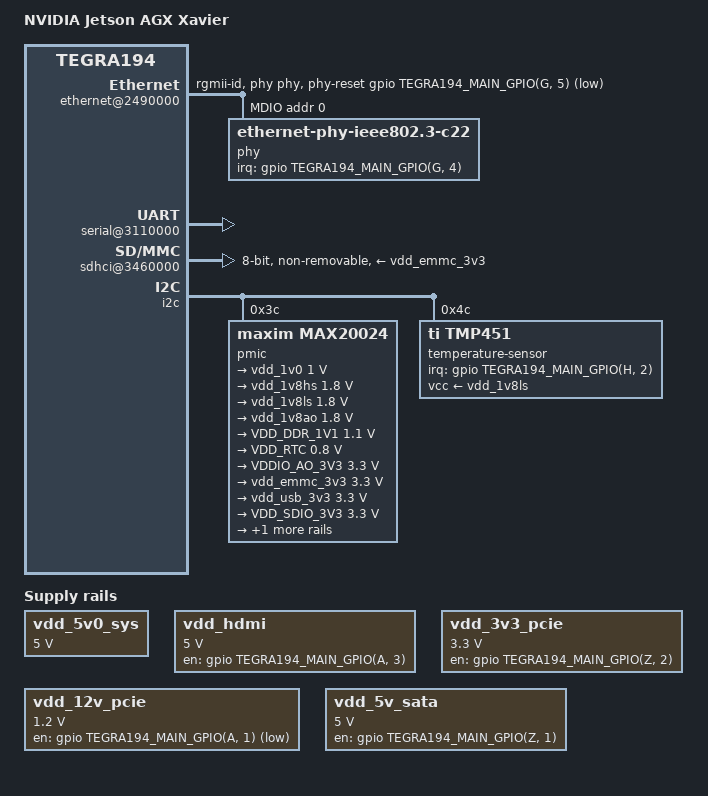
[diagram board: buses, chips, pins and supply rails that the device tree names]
// SPDX-License-Identifier: GPL-2.0
#include "tegra194.dtsi"

#include <dt-bindings/mfd/max77620.h>

/ {
	model = "NVIDIA Jetson AGX Xavier";
	compatible = "nvidia,p2888", "nvidia,tegra194";

	aliases {
		ethernet0 = "/cbb@0/ethernet@2490000";
		sdhci0 = "/cbb@0/sdhci@3460000";
		sdhci1 = "/cbb@0/sdhci@3400000";
		serial0 = &tcu;
		i2c0 = "/bpmp/i2c";
		i2c1 = "/cbb@0/i2c@3160000";
		i2c2 = "/cbb@0/i2c@c240000";
		i2c3 = "/cbb@0/i2c@3180000";
		i2c4 = "/cbb@0/i2c@3190000";
		i2c5 = "/cbb@0/i2c@31c0000";
		i2c6 = "/cbb@0/i2c@c250000";
		i2c7 = "/cbb@0/i2c@31e0000";
	};

	chosen {
		bootargs = "console=ttyS0,115200n8";
		stdout-path = "serial0:115200n8";
	};

	cbb@0 {
		ethernet@2490000 {
			status = "okay";

			phy-reset-gpios = <&gpio TEGRA194_MAIN_GPIO(G, 5) GPIO_ACTIVE_LOW>;
			phy-handle = <&phy>;
			phy-mode = "rgmii-id";

			mdio {
				#address-cells = <1>;
				#size-cells = <0>;

				phy: phy@0 {
					compatible = "ethernet-phy-ieee802.3-c22";
					reg = <0x0>;
					interrupt-parent = <&gpio>;
					interrupts = <TEGRA194_MAIN_GPIO(G, 4) IRQ_TYPE_LEVEL_LOW>;
				};
			};
		};

		memory-controller@2c00000 {
			status = "okay";
		};

		serial@3110000 {
			status = "okay";
		};

		/* SDMMC1 (SD/MMC) */
		sdhci@3400000 {
			cd-gpios = <&gpio TEGRA194_MAIN_GPIO(A, 0) GPIO_ACTIVE_LOW>;
		};

		/* SDMMC4 (eMMC) */
		sdhci@3460000 {
			status = "okay";
			bus-width = <8>;
			non-removable;

			vqmmc-supply = <&vdd_1v8ls>;
			vmmc-supply = <&vdd_emmc_3v3>;
		};

		padctl@3520000 {
			avdd-usb-supply = <&vdd_usb_3v3>;
			vclamp-usb-supply = <&vdd_1v8ao>;

			ports {
				usb2-1 {
					vbus-supply = <&vdd_5v0_sys>;
				};

				usb2-3 {
					vbus-supply = <&vdd_5v_sata>;
				};

				usb3-0 {
					vbus-supply = <&vdd_5v0_sys>;
				};

				usb3-3 {
					vbus-supply = <&vdd_5v0_sys>;
				};
			};
		};

		rtc@c2a0000 {
			status = "okay";
		};

		pmc@c360000 {
			nvidia,invert-interrupt;
		};
	};

	bpmp {
		i2c {
			status = "okay";

			pmic: pmic@3c {
				compatible = "maxim,max20024";
				reg = <0x3c>;

				interrupts = <GIC_SPI 209 IRQ_TYPE_LEVEL_HIGH>;
				#interrupt-cells = <2>;
				interrupt-controller;

				#gpio-cells = <2>;
				gpio-controller;

				pinctrl-names = "default";
				pinctrl-0 = <&max20024_default>;

				max20024_default: pinmux {
					gpio0 {
						pins = "gpio0";
						function = "gpio";
					};

					gpio1 {
						pins = "gpio1";
						function = "fps-out";
						maxim,active-fps-source = <MAX77620_FPS_SRC_DEF>;
					};

					gpio2 {
						pins = "gpio2";
						function = "fps-out";
						maxim,active-fps-source = <MAX77620_FPS_SRC_DEF>;
					};

					gpio3 {
						pins = "gpio3";
						function = "fps-out";
						maxim,active-fps-source = <MAX77620_FPS_SRC_DEF>;
					};

					gpio4 {
						pins = "gpio4";
						function = "32k-out1";
						drive-push-pull = <1>;
					};

					gpio6 {
						pins = "gpio6";
						function = "gpio";
						drive-push-pull = <1>;
					};

					gpio7 {
						pins = "gpio7";
						function = "gpio";
						drive-push-pull = <0>;
					};
				};

				fps {
					fps0 {
						maxim,fps-event-source = <MAX77620_FPS_EVENT_SRC_EN0>;
						maxim,shutdown-fps-time-period-us = <640>;
					};

					fps1 {
						maxim,fps-event-source = <MAX77620_FPS_EVENT_SRC_EN1>;
						maxim,shutdown-fps-time-period-us = <640>;
						maxim,device-state-on-disabled-event = <MAX77620_FPS_INACTIVE_STATE_SLEEP>;
					};

					fps2 {
						maxim,fps-event-source = <MAX77620_FPS_EVENT_SRC_EN0>;
						maxim,shutdown-fps-time-period-us = <640>;
					};
				};

				regulators {
					in-sd0-supply = <&vdd_5v0_sys>;
					in-sd1-supply = <&vdd_5v0_sys>;
					in-sd2-supply = <&vdd_5v0_sys>;
					in-sd3-supply = <&vdd_5v0_sys>;
					in-sd4-supply = <&vdd_5v0_sys>;

					in-ldo0-1-supply = <&vdd_5v0_sys>;
					in-ldo2-supply = <&vdd_5v0_sys>;
					in-ldo3-5-supply = <&vdd_5v0_sys>;
					in-ldo4-6-supply = <&vdd_5v0_sys>;
					in-ldo7-8-supply = <&vdd_1v8ls>;

					vdd_1v0: sd0 {
						regulator-name = "VDDIO_SYS_1V0";
						regulator-min-microvolt = <1000000>;
						regulator-max-microvolt = <1000000>;
						regulator-always-on;
						regulator-boot-on;
					};

					vdd_1v8hs: sd1 {
						regulator-name = "VDDIO_SYS_1V8HS";
						regulator-min-microvolt = <1800000>;
						regulator-max-microvolt = <1800000>;
						regulator-always-on;
						regulator-boot-on;
					};

					vdd_1v8ls: sd2 {
						regulator-name = "VDDIO_SYS_1V8LS";
						regulator-min-microvolt = <1800000>;
						regulator-max-microvolt = <1800000>;
						regulator-always-on;
						regulator-boot-on;
					};

					vdd_1v8ao: sd3 {
						regulator-name = "VDDIO_AO_1V8";
						regulator-min-microvolt = <1800000>;
						regulator-max-microvolt = <1800000>;
						regulator-always-on;
						regulator-boot-on;
					};

					sd4 {
						regulator-name = "VDD_DDR_1V1";
						regulator-min-microvolt = <1100000>;
						regulator-max-microvolt = <1100000>;
						regulator-always-on;
						regulator-boot-on;
					};

					ldo0 {
						regulator-name = "VDD_RTC";
						regulator-min-microvolt = <800000>;
						regulator-max-microvolt = <800000>;
						regulator-always-on;
						regulator-boot-on;
					};

					ldo2 {
						regulator-name = "VDDIO_AO_3V3";
						regulator-min-microvolt = <3300000>;
						regulator-max-microvolt = <3300000>;
						regulator-always-on;
						regulator-boot-on;
					};

					vdd_emmc_3v3: ldo3 {
						regulator-name = "VDD_EMMC_3V3";
						regulator-min-microvolt = <3300000>;
						regulator-max-microvolt = <3300000>;
					};

					vdd_usb_3v3: ldo5 {
						regulator-name = "VDD_USB_3V3";
						regulator-min-microvolt = <3300000>;
						regulator-max-microvolt = <3300000>;
					};

					ldo6 {
						regulator-name = "VDD_SDIO_3V3";
						regulator-min-microvolt = <3300000>;
						regulator-max-microvolt = <3300000>;
					};

					ldo7 {
						regulator-name = "AVDD_CSI_1V2";
						regulator-min-microvolt = <1200000>;
						regulator-max-microvolt = <1200000>;
					};
				};
			};

			temperature-sensor@4c {
				compatible = "ti,tmp451";
				reg = <0x4c>;

				interrupt-parent = <&gpio>;
				interrupts = <TEGRA194_MAIN_GPIO(H, 2)
					      IRQ_TYPE_LEVEL_LOW>;
				vcc-supply = <&vdd_1v8ls>;

				#thermal-sensor-cells = <1>;
			};
		};
	};

	regulators {
		compatible = "simple-bus";
		#address-cells = <1>;
		#size-cells = <0>;

		vdd_5v0_sys: regulator@0 {
			compatible = "regulator-fixed";
			reg = <0>;

			regulator-name = "VIN_SYS_5V0";
			regulator-min-microvolt = <5000000>;
			regulator-max-microvolt = <5000000>;
			regulator-always-on;
			regulator-boot-on;
		};

		vdd_hdmi: regulator@1 {
			compatible = "regulator-fixed";
			reg = <1>;

			regulator-name = "VDD_5V0_HDMI_CON";
			regulator-min-microvolt = <5000000>;
			regulator-max-microvolt = <5000000>;
			gpio = <&gpio TEGRA194_MAIN_GPIO(A, 3) GPIO_ACTIVE_HIGH>;
			enable-active-high;
		};

		vdd_3v3_pcie: regulator@2 {
			compatible = "regulator-fixed";
			reg = <2>;

			regulator-name = "PEX_3V3";
			regulator-min-microvolt = <3300000>;
			regulator-max-microvolt = <3300000>;
			gpio = <&gpio TEGRA194_MAIN_GPIO(Z, 2) GPIO_ACTIVE_HIGH>;
			regulator-boot-on;
			enable-active-high;
		};

		vdd_12v_pcie: regulator@3 {
			compatible = "regulator-fixed";
			reg = <3>;

			regulator-name = "VDD_12V";
			regulator-min-microvolt = <1200000>;
			regulator-max-microvolt = <1200000>;
			gpio = <&gpio TEGRA194_MAIN_GPIO(A, 1) GPIO_ACTIVE_HIGH>;
			regulator-boot-on;
		};

		vdd_5v_sata: regulator@4 {
			compatible = "regulator-fixed";
			reg = <4>;

			regulator-name = "VDD_5V_SATA";
			regulator-min-microvolt = <5000000>;
			regulator-max-microvolt = <5000000>;
			gpio = <&gpio TEGRA194_MAIN_GPIO(Z, 1) GPIO_ACTIVE_HIGH>;
			enable-active-high;
		};
	};
};
